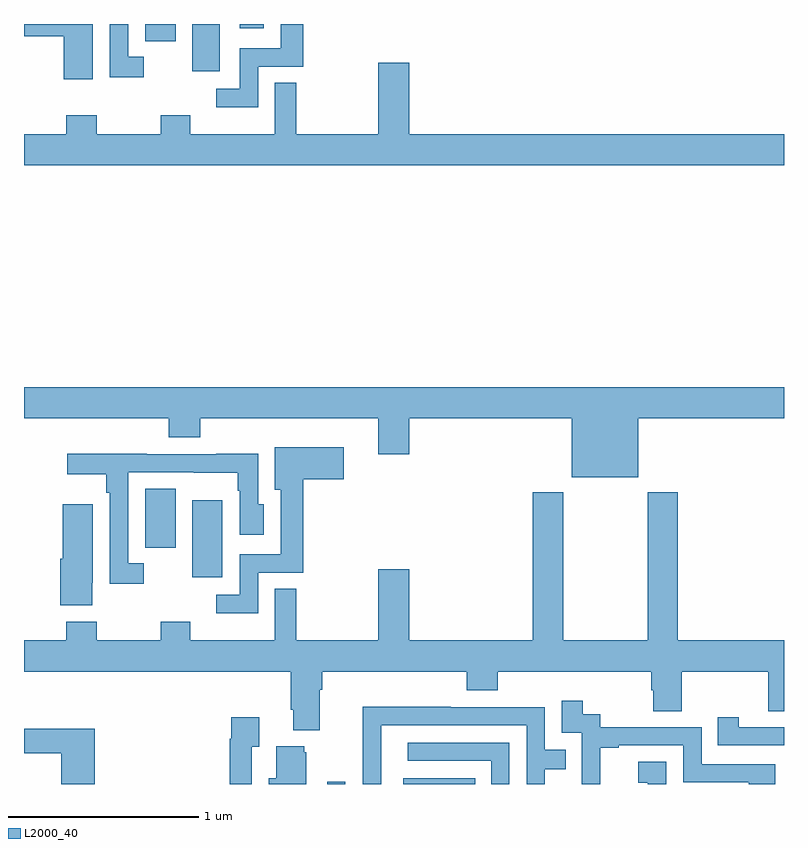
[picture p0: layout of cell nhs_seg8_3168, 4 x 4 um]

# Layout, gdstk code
import gdstk
lib = gdstk.Library(unit=1e-6, precision=1e-09)
def R(c, l, rs):  # rectangles x0, y0, x1, y1
    for r in rs: c.add(gdstk.rectangle(r[:2], r[2:], *l))
def P(c, l, *ps):  # polygons
    for p in ps: c.add(gdstk.Polygon(p, *l))
L2000_40 = (2000, 40)

nhs_seg8_3168 = lib.new_cell('nhs_seg8_3168')
R(nhs_seg8_3168, L2000_40, [(308.595,1123.9,308.691,1123.912), (308.996,1123.9,309.374,1123.93), (307.886,1124.988,308.044,1125.394), (307.637,1125.144,307.798,1125.455), (307.886,1127.652,308.029,1127.9), (307.637,1127.808,307.798,1127.9), (308.136,1127.877,308.263,1127.9)])
P(nhs_seg8_3168, L2000_40, [(307.63,1127.727),(307.548,1127.727),(307.548,1127.9),(307.452,1127.9),(307.452,1127.619),(307.63,1127.619)],
  [(307.363,1127.9),(307,1127.9),(307,1127.836),(307.21,1127.836),(307.21,1127.61),(307.363,1127.61)],
  [(308.232,1127.676),(308.47,1127.676),(308.47,1127.9),(308.351,1127.9),(308.351,1127.772),(308.136,1127.772),(308.136,1127.559),(308.013,1127.559),(308.013,1127.462),(308.232,1127.462)],
  [(311,1127.32),(309.028,1127.32),(309.028,1127.695),(308.864,1127.695),(308.864,1127.32),(308.432,1127.32),(308.432,1127.591),(308.321,1127.591),(308.321,1127.32),(307.875,1127.32),(307.875,1127.419),(307.72,1127.419),(307.72,1127.32),(307.383,1127.32),(307.383,1127.419),(307.223,1127.419),(307.223,1127.32),(307,1127.32),(307,1127.156),(311,1127.156)],
  [(310.234,1125.824),(311,1125.824),(311,1125.988),(307,1125.988),(307,1125.824),(307.763,1125.824),(307.763,1125.725),(307.928,1125.725),(307.928,1125.824),(308.864,1125.824),(308.864,1125.636),(309.028,1125.636),(309.028,1125.824),(309.884,1125.824),(309.884,1125.515),(310.234,1125.515)],
  [(308.232,1125.012),(308.47,1125.012),(308.47,1125.503),(308.683,1125.503),(308.683,1125.673),(308.321,1125.673),(308.321,1125.449),(308.351,1125.449),(308.351,1125.108),(308.136,1125.108),(308.136,1124.895),(308.013,1124.895),(308.013,1124.798),(308.232,1124.798)],
  [(307.63,1125.063),(307.548,1125.063),(307.548,1125.54),(307.894,1125.54),(307.894,1125.539),(308.124,1125.539),(308.124,1125.443),(308.136,1125.443),(308.136,1125.213),(308.263,1125.213),(308.263,1125.372),(308.232,1125.372),(308.232,1125.638),(308.011,1125.638),(308.011,1125.636),(307.645,1125.636),(307.645,1125.638),(307.227,1125.638),(307.227,1125.53),(307.432,1125.53),(307.432,1125.434),(307.452,1125.434),(307.452,1124.955),(307.63,1124.955)],
  [(308.557,1124.396),(308.57,1124.396),(308.57,1124.492),(309.329,1124.492),(309.329,1124.393),(309.494,1124.393),(309.494,1124.492),(310.301,1124.492),(310.301,1124.394),(310.313,1124.394),(310.313,1124.284),(310.461,1124.284),(310.461,1124.492),(310.918,1124.492),(310.918,1124.284),(311,1124.284),(311,1124.656),(310.442,1124.656),(310.442,1125.436),(310.282,1125.436),(310.282,1124.656),(309.837,1124.656),(309.837,1125.436),(309.677,1125.436),(309.677,1124.656),(309.028,1124.656),(309.028,1125.031),(308.864,1125.031),(308.864,1124.656),(308.432,1124.656),(308.432,1124.927),(308.321,1124.927),(308.321,1124.656),(307.875,1124.656),(307.875,1124.755),(307.72,1124.755),(307.72,1124.656),(307.383,1124.656),(307.383,1124.755),(307.223,1124.755),(307.223,1124.656),(307,1124.656),(307,1124.492),(308.405,1124.492),(308.405,1124.29),(308.417,1124.29),(308.417,1124.183),(308.557,1124.183)],
  [(307.36,1124.958),(307.363,1124.958),(307.363,1125.373),(307.205,1125.373),(307.205,1125.086),(307.19,1125.086),(307.19,1124.84),(307.36,1124.84)],
  [(310.034,1124.091),(310.129,1124.091),(310.129,1124.103),(310.47,1124.103),(310.47,1123.908),(310.815,1123.908),(310.815,1123.9),(310.955,1123.9),(310.955,1124.004),(310.566,1124.004),(310.566,1124.199),(310.032,1124.199),(310.032,1124.268),(309.94,1124.268),(309.94,1124.338),(309.831,1124.338),(309.831,1124.169),(309.936,1124.169),(309.936,1123.94),(309.935,1123.94),(309.935,1123.9),(310.034,1123.9)],
  [(308.88,1124.208),(309.645,1124.208),(309.645,1123.9),(309.741,1123.9),(309.741,1123.978),(309.851,1123.978),(309.851,1124.079),(309.741,1124.079),(309.741,1124.304),(309.245,1124.304),(309.245,1124.306),(308.782,1124.306),(308.782,1123.999),(308.784,1123.999),(308.784,1123.9),(308.88,1123.9)],
  [(308.199,1124.095),(308.239,1124.095),(308.239,1124.251),(308.091,1124.251),(308.091,1124.138),(308.083,1124.138),(308.083,1123.9),(308.199,1123.9)],
  [(311,1124.199),(310.762,1124.199),(310.762,1124.251),(310.651,1124.251),(310.651,1124.103),(311,1124.103)],
  [(307.373,1124.191),(307,1124.191),(307,1124.062),(307.195,1124.062),(307.195,1123.9),(307.373,1123.9)],
  [(309.555,1124.118),(309.021,1124.118),(309.021,1124.022),(309.459,1124.022),(309.459,1123.9),(309.555,1123.9)],
  [(308.485,1124.067),(308.474,1124.067),(308.474,1124.098),(308.327,1124.098),(308.327,1123.93),(308.288,1123.93),(308.288,1123.9),(308.485,1123.9)],
  [(310.38,1124.017),(310.233,1124.017),(310.233,1123.907),(310.282,1123.907),(310.282,1123.9),(310.38,1123.9)])

lib.write_gds('nhs_seg8_3168.gds')
